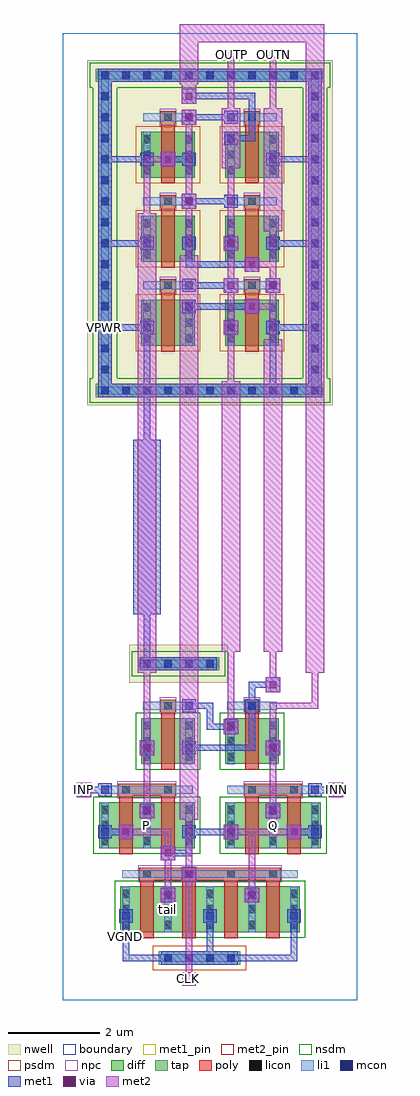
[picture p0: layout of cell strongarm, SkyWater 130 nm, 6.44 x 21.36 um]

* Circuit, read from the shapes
.subckt strongarm CLK INN INP OUTN OUTP P Q VGND VPWR tail
XM1 P INP tail VGND sky130_fd_pr__nfet_01v8 w=1 l=0.3 m=2
XM2 tail CLK VGND VGND sky130_fd_pr__nfet_01v8 w=1 l=0.3 m=4
XM3 OUTN OUTP P VGND sky130_fd_pr__nfet_01v8 w=1 l=0.3
XM4 Q INN tail VGND sky130_fd_pr__nfet_01v8 w=1 l=0.3 m=2
XM5 Q OUTN OUTP VGND sky130_fd_pr__nfet_01v8 w=1 l=0.3
XM6 OUTN OUTP VPWR VPWR sky130_fd_pr__pfet_01v8 w=1 l=0.3
XM7 OUTN CLK VPWR VPWR sky130_fd_pr__pfet_01v8 w=1 l=0.3
XM8 P CLK VPWR VPWR sky130_fd_pr__pfet_01v8 w=1 l=0.3
XM9 VPWR OUTN OUTP VPWR sky130_fd_pr__pfet_01v8 w=1 l=0.3
XM10 VPWR CLK OUTP VPWR sky130_fd_pr__pfet_01v8 w=1 l=0.3
XM11 VPWR CLK Q VPWR sky130_fd_pr__pfet_01v8 w=1 l=0.3
.ends

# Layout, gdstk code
import gdstk
lib = gdstk.Library(unit=1e-6, precision=1e-09)
def R(c, l, rs):  # rectangles x0, y0, x1, y1
    for r in rs: c.add(gdstk.rectangle(r[:2], r[2:], *l))
def A(c, l, x, y, w, h, nx, ny, dx, dy):  # array of equal rectangles
    R(c, l, [(x+i*dx, y+j*dy, x+i*dx+w, y+j*dy+h) for i in range(nx) for j in range(ny)])
nwell = (64, 20)
diff = (65, 20)
tap = (65, 44)
poly = (66, 20)
licon = (66, 44)
li1 = (67, 20)
mcon = (67, 44)
met1_pin = (68, 16)
met1 = (68, 20)
via = (68, 44)
met2_pin = (69, 16)
met2 = (69, 20)
nsdm = (93, 44)
psdm = (94, 20)
npc = (95, 20)
boundary = (235, 4)

strongarm = lib.new_cell('strongarm')
R(strongarm, nwell, [(1.455,6.94,3.605,7.78), (0.535,13.015,5.905,20.565)])
A(strongarm, diff, 1.715, 14.32, 1.17, 1, 1, 3, 0, 1.84)
A(strongarm, diff, 3.555, 14.32, 1.17, 1, 1, 3, 0, 1.84)
R(strongarm, diff, [(1.255,1.485,5.185,2.485), (0.795,3.325,2.885,4.325), (3.555,3.325,5.645,4.325), (1.715,5.165,2.885,6.165), (3.555,5.165,4.725,6.165)])
R(strongarm, tap, [(2.095,0.775,3.885,1.065), (1.635,7.215,3.425,7.505), (0.715,13.195,5.725,13.485), (0.775,13.195,1.065,20.385), (5.375,13.195,5.665,20.385), (0.715,20.095,5.725,20.385)])
A(strongarm, poly, 1.69, 1.355, 0.3, 1.405, 4, 1, 0.92, 0)
A(strongarm, poly, 2.15, 14.19, 0.3, 1.45, 1, 3, 0, 1.84)
A(strongarm, poly, 3.99, 14.19, 0.3, 1.45, 1, 3, 0, 1.84)
A(strongarm, poly, 2.135, 15.505, 0.33, 0.27, 1, 3, 0, 1.84)
A(strongarm, poly, 3.975, 15.505, 0.33, 0.27, 1, 3, 0, 1.84)
R(strongarm, poly, [(1.675,2.625,4.765,2.895), (1.23,3.195,1.53,4.6), (2.15,3.195,2.45,4.6), (3.99,3.195,4.29,4.6), (4.91,3.195,5.21,4.6), (1.215,4.465,2.465,4.735), (3.975,4.465,5.225,4.735), (2.15,5.035,2.45,6.44), (3.99,5.035,4.29,6.44), (2.135,6.305,2.465,6.575), (3.975,6.305,4.305,6.575)])
A(strongarm, licon, 2.215, 0.835, 0.17, 0.17, 4, 1, 0.46, 0)
A(strongarm, licon, 1.295, 1.56, 0.17, 0.17, 5, 3, 0.92, 0.34)
A(strongarm, licon, 1.755, 2.675, 0.17, 0.17, 4, 2, 0.92, 2.565)
A(strongarm, licon, 0.835, 3.4, 0.17, 0.17, 6, 3, 0.92, 0.34)
A(strongarm, licon, 1.755, 5.58, 0.17, 0.17, 4, 2, 0.92, 0.34)
A(strongarm, licon, 1.755, 7.275, 0.17, 0.17, 4, 1, 0.46, 0)
A(strongarm, licon, 0.835, 13.255, 0.17, 0.17, 11, 2, 0.46, 6.9)
A(strongarm, licon, 0.835, 13.715, 0.17, 0.17, 1, 14, 0, 0.46)
A(strongarm, licon, 5.435, 13.715, 0.17, 0.17, 1, 14, 0, 0.46)
A(strongarm, licon, 1.755, 14.395, 0.17, 0.17, 4, 3, 0.92, 0.34)
A(strongarm, licon, 2.215, 15.555, 0.17, 0.17, 1, 3, 0, 1.84)
A(strongarm, licon, 4.055, 15.555, 0.17, 0.17, 1, 3, 0, 1.84)
A(strongarm, licon, 1.755, 16.235, 0.17, 0.17, 4, 3, 0.92, 0.34)
A(strongarm, licon, 1.755, 18.075, 0.17, 0.17, 4, 3, 0.92, 0.34)
R(strongarm, licon, [(1.295,4.515,1.465,4.685), (2.215,4.515,2.385,4.685), (4.055,4.515,4.225,4.685), (4.975,4.515,5.145,4.685), (2.215,6.355,2.385,6.525), (4.055,6.355,4.225,6.525)])
A(strongarm, li1, 1.295, 1.48, 0.17, 1.01, 5, 1, 0.92, 0)
A(strongarm, li1, 0.835, 3.32, 0.17, 1.01, 6, 1, 0.92, 0)
A(strongarm, li1, 1.755, 5.16, 0.17, 1.01, 4, 2, 0.92, 9.155)
A(strongarm, li1, 1.755, 15.555, 1.09, 0.17, 1, 3, 0, 1.84)
A(strongarm, li1, 3.595, 15.555, 1.09, 0.17, 1, 3, 0, 1.84)
A(strongarm, li1, 1.755, 16.155, 0.17, 1.01, 4, 2, 0.92, 1.84)
R(strongarm, li1, [(2.135,0.835,3.845,1.005), (1.295,2.675,5.145,2.845), (0.835,4.515,2.845,4.685), (3.595,4.515,5.605,4.685), (1.755,6.355,2.845,6.525), (3.595,6.355,4.685,6.525), (1.675,7.275,3.385,7.445), (0.755,13.255,5.685,13.425), (0.835,13.255,1.005,20.325), (5.435,13.255,5.605,20.325), (0.755,20.155,5.685,20.325)])
A(strongarm, mcon, 2.215, 0.835, 0.17, 0.17, 4, 1, 0.46, 0)
A(strongarm, mcon, 1.295, 1.755, 0.17, 0.17, 3, 1, 1.84, 0)
A(strongarm, mcon, 1.755, 7.275, 0.17, 0.17, 4, 1, 0.46, 0)
A(strongarm, mcon, 0.835, 13.255, 0.17, 0.17, 11, 2, 0.46, 6.9)
A(strongarm, mcon, 0.835, 13.715, 0.17, 0.17, 1, 4, 0, 0.46)
A(strongarm, mcon, 3.595, 14.635, 0.17, 0.17, 3, 1, 0.92, 0)
A(strongarm, mcon, 5.435, 15.095, 0.17, 0.17, 1, 3, 0, 0.46)
A(strongarm, mcon, 0.835, 15.555, 0.17, 0.17, 3, 1, 1.84, 0)
A(strongarm, mcon, 0.835, 16.475, 0.17, 0.17, 6, 1, 0.92, 0)
A(strongarm, mcon, 0.835, 16.935, 0.17, 0.17, 1, 3, 0, 0.46)
A(strongarm, mcon, 5.435, 16.935, 0.17, 0.17, 1, 7, 0, 0.46)
A(strongarm, mcon, 0.835, 18.315, 0.17, 0.17, 3, 1, 0.92, 0)
A(strongarm, mcon, 0.835, 18.775, 0.17, 0.17, 1, 3, 0, 0.46)
R(strongarm, mcon, [(2.215,2.215,2.385,2.385), (4.055,2.215,4.225,2.385), (2.675,2.675,2.845,2.845), (0.835,3.595,1.005,3.765), (2.675,3.595,2.845,3.765), (3.595,3.595,3.765,3.765), (5.435,3.595,5.605,3.765), (1.755,4.055,1.925,4.225), (4.515,4.055,4.685,4.225), (0.835,4.515,1.005,4.685), (5.435,4.515,5.605,4.685), (1.755,5.435,1.925,5.605), (2.675,5.435,2.845,5.605), (4.515,5.435,4.685,5.605), (3.595,5.895,3.765,6.065), (2.675,6.355,2.845,6.525), (4.055,6.355,4.225,6.525), (5.435,13.715,5.605,13.885), (5.435,14.175,5.605,14.345), (1.755,14.635,1.925,14.805), (2.675,15.095,2.845,15.265), (0.835,16.015,1.005,16.185), (2.675,17.395,2.845,17.565), (3.595,17.395,3.765,17.565), (4.515,18.315,4.685,18.485), (3.595,18.775,3.765,18.945), (2.675,19.235,2.845,19.405), (3.595,19.235,3.765,19.405)])
R(strongarm, met1_pin, [(1.31,0.85,1.45,1.91), (0.85,14.65,0.99,14.79)])
A(strongarm, met1, 1.31, 0.85, 0.14, 1.06, 3, 1, 1.84, 0)
A(strongarm, met1, 1.235, 1.695, 0.29, 0.29, 3, 1, 1.84, 0)
A(strongarm, met1, 4.44, 3.98, 0.32, 0.32, 1, 3, 0, 1.38)
A(strongarm, met1, 3.52, 14.56, 0.32, 0.32, 1, 3, 0, 0.92)
A(strongarm, met1, 0.85, 14.65, 1.06, 0.14, 1, 3, 0, 1.84)
A(strongarm, met1, 0.85, 14.65, 0.14, 1.98, 1, 3, 0, 1.84)
A(strongarm, met1, 4.53, 14.65, 1.06, 0.14, 1, 3, 0, 1.84)
A(strongarm, met1, 2.69, 15.57, 1.06, 0.14, 1, 3, 0, 1.84)
A(strongarm, met1, 1.695, 16.415, 0.29, 0.29, 4, 1, 0.92, 0)
A(strongarm, met1, 2.615, 17.335, 0.29, 0.29, 1, 3, 0, 0.92)
R(strongarm, met1, [(2.155,0.775,3.825,1.065), (1.31,0.85,2.37,0.99), (2.23,0.85,3.29,0.99), (2.23,0.85,2.37,0.99), (3.15,0.85,5.13,0.99), (2.14,2.14,2.46,2.46), (3.98,2.14,4.3,2.46), (2.155,2.155,2.445,2.445), (3.995,2.155,4.285,2.445), (2.6,2.6,2.92,2.92), (2.615,2.615,2.905,2.905), (2.14,3.06,2.46,3.38), (2.23,3.15,2.83,3.29), (2.69,3.15,2.83,3.75), (1.22,3.52,1.54,3.84), (3.52,3.52,3.84,3.84), (4.9,3.52,5.22,3.84), (0.775,3.535,1.065,3.825), (2.615,3.535,2.905,3.825), (3.535,3.535,3.825,3.825), (5.375,3.535,5.665,3.825), (0.85,3.61,1.45,3.75), (2.69,3.61,3.75,3.75), (4.99,3.61,5.59,3.75), (1.68,3.98,2,4.3), (1.695,3.995,1.985,4.285), (4.455,3.995,4.745,4.285), (0.3,4.44,0.62,4.76), (5.82,4.44,6.14,4.76), (0.775,4.455,1.065,4.745), (5.375,4.455,5.665,4.745), (0.39,4.53,0.99,4.67), (5.45,4.53,6.05,4.67), (1.68,5.36,2,5.68), (1.695,5.375,1.985,5.665), (2.615,5.375,2.905,5.665), (4.455,5.375,4.745,5.665), (2.69,5.45,4.21,5.59), (4.07,5.45,4.21,6.51), (3.52,5.82,3.84,6.14), (3.535,5.835,3.825,6.125), (3.15,5.91,3.75,6.05), (3.15,5.91,3.29,6.51), (2.615,6.295,2.905,6.585), (3.995,6.295,4.285,6.585), (2.69,6.37,3.29,6.51), (4.07,6.37,4.21,6.97), (4.07,6.83,4.67,6.97), (1.695,7.215,3.365,7.505), (1.77,7.29,1.91,8.81), (1.77,7.29,1.91,7.43), (1.54,8.44,2.14,12.26), (1.77,11.89,1.91,13.41), (0.775,13.195,5.665,13.485), (0.775,13.195,1.065,20.385), (5.375,13.195,5.665,20.385), (1.77,13.27,4.67,13.41), (1.77,13.27,1.91,14.79), (4.53,13.27,4.67,14.79), (1.695,14.575,1.985,14.865), (3.535,14.575,3.825,14.865), (4.455,14.575,4.745,14.865), (0.85,14.65,0.99,14.79), (5.45,14.65,5.59,16.63), (3.98,15.02,4.3,15.34), (2.615,15.035,2.905,15.325), (2.69,15.11,4.21,15.25), (4.44,15.48,4.76,15.8), (2.615,15.495,2.905,15.785), (4.455,15.495,4.745,15.785), (3.98,15.94,4.3,16.26), (2.69,16.03,2.83,16.63), (2.69,16.03,4.21,16.17), (5.45,16.49,5.59,18.47), (2.6,17.32,2.92,17.64), (3.535,17.335,3.825,17.625), (2.14,18.24,2.46,18.56), (1.695,18.255,1.985,18.545), (4.455,18.255,4.745,18.545), (2.23,18.33,2.83,18.47), (3.535,18.715,3.825,19.005), (3.61,18.79,4.21,18.93), (4.07,18.79,4.21,19.85), (2.6,19.16,2.92,19.48), (3.535,19.175,3.825,19.465), (2.6,19.62,2.92,19.94), (2.69,19.71,4.21,19.85), (0.775,20.095,5.665,20.385), (0.85,20.17,0.99,20.31)])
A(strongarm, via, 4.525, 4.065, 0.15, 0.15, 1, 3, 0, 1.38)
A(strongarm, via, 3.605, 14.645, 0.15, 0.15, 1, 3, 0, 0.92)
R(strongarm, via, [(2.225,2.225,2.375,2.375), (4.065,2.225,4.215,2.375), (2.685,2.685,2.835,2.835), (2.225,3.145,2.375,3.295), (1.305,3.605,1.455,3.755), (3.605,3.605,3.755,3.755), (4.985,3.605,5.135,3.755), (1.765,4.065,1.915,4.215), (0.385,4.525,0.535,4.675), (5.905,4.525,6.055,4.675), (1.765,5.445,1.915,5.595), (3.605,5.905,3.755,6.055), (4.065,15.105,4.215,15.255), (4.525,15.565,4.675,15.715), (4.065,16.025,4.215,16.175), (2.685,17.405,2.835,17.555), (2.225,18.325,2.375,18.475), (2.685,19.245,2.835,19.395), (2.685,19.705,2.835,19.855)])
R(strongarm, met2_pin, [(2.61,0.31,2.91,0.61), (0.31,4.45,0.61,4.75), (5.83,4.45,6.13,4.75), (3.61,20.63,3.75,20.77), (4.53,20.63,4.67,20.77)])
A(strongarm, met2, 4.44, 3.98, 0.32, 0.32, 1, 3, 0, 1.38)
A(strongarm, met2, 3.52, 14.56, 0.32, 0.32, 1, 3, 0, 0.92)
R(strongarm, met2, [(2.61,0.31,2.91,0.61), (2.69,0.39,2.83,0.53), (2.69,0.39,2.83,2.83), (2.14,2.14,2.46,2.46), (3.98,2.14,4.3,2.46), (2.23,2.23,2.37,3.29), (4.07,2.23,4.21,3.75), (2.6,2.6,2.92,2.92), (2.69,2.69,2.83,4.21), (2.14,3.06,2.46,3.38), (2.23,3.15,2.37,3.75), (1.22,3.52,1.54,3.84), (3.52,3.52,3.84,3.84), (4.9,3.52,5.22,3.84), (1.31,3.61,2.37,3.75), (3.61,3.61,4.21,3.75), (4.07,3.61,5.13,3.75), (2.56,3.94,2.96,16.3), (1.68,3.98,2,4.3), (1.77,4.07,1.91,5.59), (4.53,4.07,4.67,5.59), (0.3,4.44,0.62,4.76), (5.82,4.44,6.14,4.76), (0.31,4.45,0.61,4.75), (5.83,4.45,6.13,4.75), (0.39,4.53,0.53,4.67), (5.91,4.53,6.05,4.67), (1.68,5.36,2,5.68), (1.77,5.45,1.91,7.43), (4.53,5.45,4.67,6.51), (3.52,5.82,3.84,6.14), (3.61,5.91,3.75,7.89), (4.53,6.37,5.59,6.51), (5.45,6.37,5.59,7.43), (4.53,6.83,4.67,7.89), (1.64,7.16,2.04,17.22), (5.32,7.16,5.72,21.36), (3.48,7.62,3.88,13.54), (4.4,7.62,4.8,14.46), (3.61,13.27,3.75,14.79), (4.53,14.19,4.67,15.71), (3.61,14.65,3.75,16.63), (3.98,15.02,4.3,15.34), (4.07,15.11,4.67,15.25), (4.44,15.48,4.76,15.8), (4.53,15.57,4.67,17.09), (3.98,15.94,4.3,16.26), (2.69,16.03,2.83,17.55), (4.07,16.03,4.67,16.17), (3.61,16.49,3.75,18.47), (4.4,16.82,4.8,19.52), (1.77,16.95,1.91,18.47), (2.6,17.32,2.92,17.64), (2.69,17.41,2.83,19.39), (3.48,18.2,3.88,19.52), (2.14,18.24,2.46,18.56), (1.77,18.33,2.37,18.47), (2.6,19.16,2.92,19.48), (3.61,19.25,3.75,20.77), (4.53,19.25,4.67,20.77), (2.6,19.62,2.92,19.94), (2.69,19.71,2.83,20.31), (2.6,19.94,2.92,20.04), (2.56,20.04,2.96,21.36), (3.61,20.63,3.75,20.77), (4.53,20.63,4.67,20.77), (2.56,20.96,5.72,21.36)])
R(strongarm, nsdm, [(1.13,1.36,5.31,2.61), (0.67,3.2,3.01,4.45), (3.43,3.2,5.77,4.45), (1.59,5.04,3.01,6.29), (3.43,5.04,4.85,6.29), (1.51,7.09,3.55,7.63), (0.59,13.07,5.85,13.61), (0.65,13.61,1.19,19.97), (5.25,13.61,5.79,19.97), (0.59,19.97,5.85,20.51)])
A(strongarm, psdm, 1.59, 14.195, 1.42, 1.25, 1, 3, 0, 1.84)
A(strongarm, psdm, 3.43, 14.195, 1.42, 1.25, 1, 3, 0, 1.84)
R(strongarm, psdm, [(1.97,0.65,4.01,1.19)])
A(strongarm, npc, 2.115, 15.455, 0.37, 0.37, 1, 3, 0, 1.84)
A(strongarm, npc, 3.955, 15.455, 0.37, 0.37, 1, 3, 0, 1.84)
R(strongarm, npc, [(1.655,2.575,4.785,2.945), (1.195,4.415,2.485,4.785), (3.955,4.415,5.245,4.785), (2.115,6.255,2.485,6.625), (3.955,6.255,4.325,6.625)])
R(strongarm, boundary, [(0,0,6.44,21.16)])
strongarm.add(gdstk.Label('tail', (2.3,1.985), layer=67, texttype=5))
strongarm.add(gdstk.Label('P', (1.84,3.825), layer=67, texttype=5))
strongarm.add(gdstk.Label('Q', (4.6,3.825), layer=67, texttype=5))
strongarm.add(gdstk.Label('VPWR', (0.92,14.72), layer=68, texttype=5))
strongarm.add(gdstk.Label('VGND', (1.38,1.38), layer=68, texttype=5))
strongarm.add(gdstk.Label('CLK', (2.76,0.46), layer=69, texttype=5))
strongarm.add(gdstk.Label('INP', (0.46,4.6), layer=69, texttype=5))
strongarm.add(gdstk.Label('INN', (5.98,4.6), layer=69, texttype=5))
strongarm.add(gdstk.Label('OUTP', (3.68,20.7), layer=69, texttype=5))
strongarm.add(gdstk.Label('OUTN', (4.6,20.7), layer=69, texttype=5))
strongarm.add(gdstk.Label('VPWR', (0.92,14.72), layer=68, texttype=16))
strongarm.add(gdstk.Label('VGND', (1.38,1.38), layer=68, texttype=16))
strongarm.add(gdstk.Label('CLK', (2.76,0.46), layer=69, texttype=16))
strongarm.add(gdstk.Label('INP', (0.46,4.6), layer=69, texttype=16))
strongarm.add(gdstk.Label('INN', (5.98,4.6), layer=69, texttype=16))
strongarm.add(gdstk.Label('OUTP', (3.68,20.7), layer=69, texttype=16))
strongarm.add(gdstk.Label('OUTN', (4.6,20.7), layer=69, texttype=16))

lib.write_gds('strongarm.gds')
